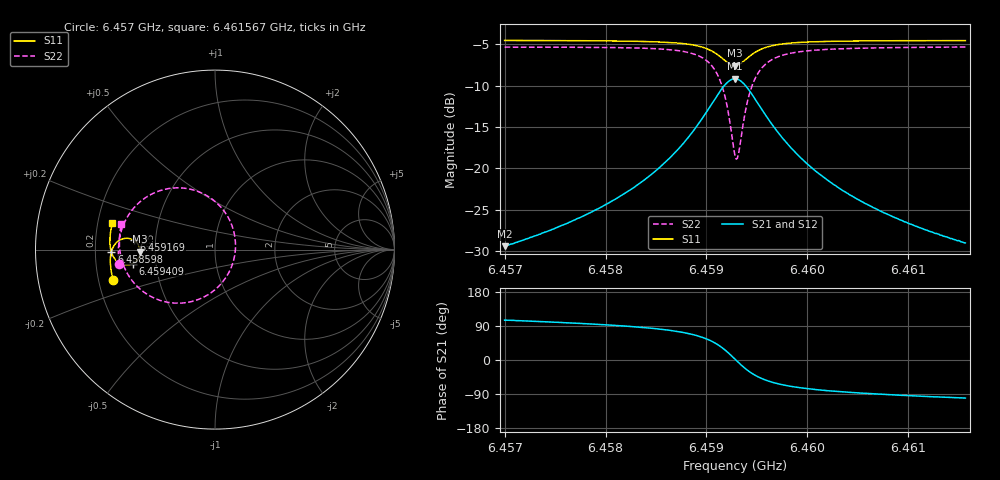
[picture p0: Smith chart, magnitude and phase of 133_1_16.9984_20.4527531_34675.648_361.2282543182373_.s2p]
#  HZ  S  RI  R  50.00
! Rohde & Schwarz Vector Network Analyzer
! Rohde-Schwarz,ZNB20-2Port,1311601062101988,3.16
! Created: UTC 3/20/2024, 10:58:01 PM
! freq[Hz]  re:S11  im:S11  re:S21  im:S21  re:S12  im:S12  re:S22  im:S22
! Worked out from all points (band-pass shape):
!   401 points, 6.457 GHz to 6.461567 GHz, reference 50 ohm
!   highest |S21| = -9.18 dB at 6.459283 GHz (marker M1); lowest = -29.4 dB at 6.457 GHz (marker M2)
!   |S21| within 3 dB of the highest: 6.459054 GHz to 6.459512 GHz (457.1 kHz wide, 0.00708 % of centre)
!   lowest |S11| = -7.6 dB at 6.459283 GHz (marker M3), VSWR 2.43, Z = 20.6 - j0.568 ohm
!   |S11| at or under -10 dB: nowhere
!   |S22| runs from -18.9 to -5.3 dB; largest |S21 - S12| = 0.014
!   S11 on the Smith chart (normalised r, x): 6.457 GHz: 0.26, -0.14; 6.458598 GHz: 0.27, -0.01; 6.459169 GHz: 0.38, +0.05; 6.459409 GHz: 0.37, -0.07; 6.461567 GHz: 0.26, +0.12
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6.4569996e9  -0.5666 -0.1717  -0.00879 0.0327  -0.00715 0.0326  -0.5331 -0.083
6.4577647e9  -0.5805 -0.1047  -0.00557 0.0507  -0.00305 0.0501  -0.5382 0.00687
6.4581872e9  -0.5834 -0.0622  0.000514 0.0704  0.00361 0.069  -0.5298 0.0742
6.4585298e9  -0.5794 -0.0211  0.0144 0.0993  0.0183 0.0967  -0.5041 0.1521
6.4585983e9  -0.5772 -0.0115  0.0197 0.1079  0.0239 0.1046  -0.4938 0.1722
6.4588039e9  -0.5634 0.0209  0.049 0.1411  0.0529 0.1361  -0.4394 0.2462
6.4589409e9  -0.5417 0.0454  0.0922 0.1697  0.0954 0.163  -0.3598 0.3058
6.4590779e9  -0.4974 0.063  0.1801 0.1861  0.181 0.1788  -0.1995 0.3441
6.4591693e9  -0.4524 0.0524  0.2705 0.1545  0.2708 0.1486  -0.0322 0.2924
6.4592378e9  -0.4232 0.0199  0.3312 0.0817  0.3333 0.0765  0.0828 0.1617
6.4592835e9  -0.4164 -0.0114  0.3472 0.0135  0.351 0.0065  0.1142 0.0341
6.4592949e9  -0.4167 -0.0196  0.3472 -0.00444  0.351 -0.0121  0.1137 0.000242
6.4593178e9  -0.4204 -0.0354  0.3413 -0.0392  0.3453 -0.0483  0.1021 -0.0655
6.4593634e9  -0.4362 -0.0615  0.3123 -0.0992  0.3146 -0.1113  0.0436 -0.1786
6.4594091e9  -0.4584 -0.078  0.2701 -0.1403  0.2692 -0.1536  -0.042 -0.2533
6.4595005e9  -0.5021 -0.0849  0.1849 -0.1714  0.1787 -0.183  -0.2113 -0.2984
6.4596489e9  -0.5462 -0.0644  0.0967 -0.1573  0.0882 -0.1636  -0.3789 -0.2487
6.4598088e9  -0.568 -0.0368  0.0518 -0.1292  0.0441 -0.1321  -0.4591 -0.1764
6.4600486e9  -0.5808 -0.00127  0.0225 -0.0978  0.0166 -0.0984  -0.5072 -0.0939
6.4603683e9  -0.5854 0.0371  0.00708 -0.0721  0.0029 -0.0717  -0.5279 -0.0192
6.4608137e9  -0.5838 0.0821  -0.00137 -0.0521  -0.00422 -0.0513  -0.5327 0.0533
6.4615674e9  -0.5719 0.149  -0.00642 -0.0349  -0.00811 -0.0338  -0.5216 0.1426
